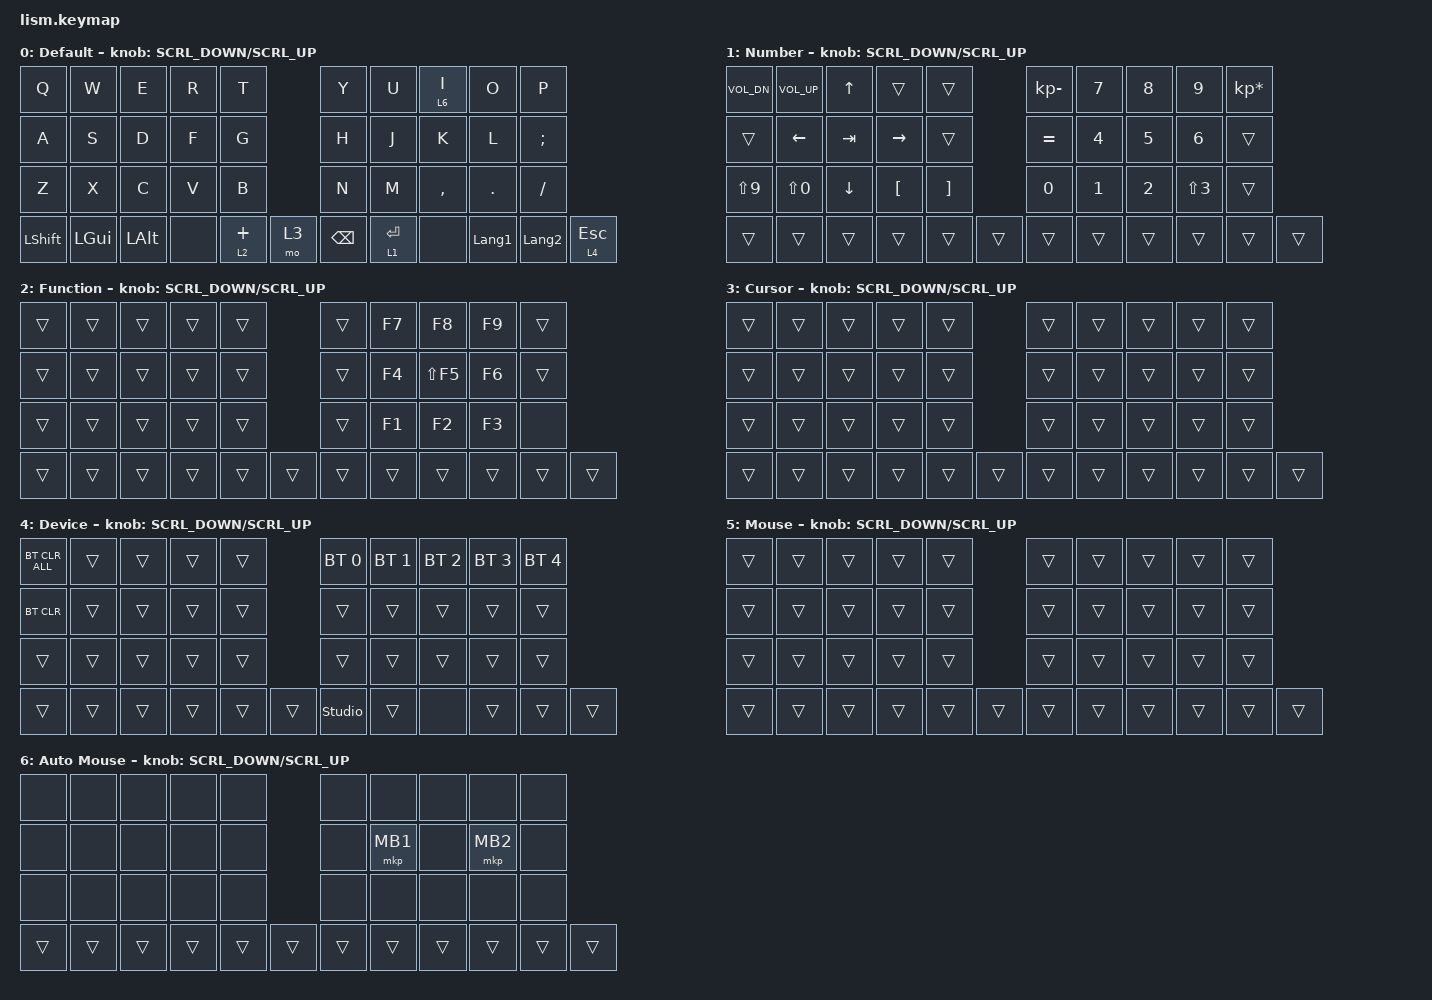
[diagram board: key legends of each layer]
#define ZMK_POINTING_DEFAULT_SCRL_VAL 60

#include <dt-bindings/zmk/mouse.h>
#include <behaviors.dtsi>
#include <dt-bindings/zmk/bt.h>
#include <dt-bindings/zmk/keys.h>
#include <dt-bindings/zmk/pointing.h>
#include <input/processors.dtsi>

#define JP_DQUOTE       AT
#define JP_AMPERSAND    CARET
#define JP_QUOTE        AMPERSAND
#define JP_EQUAL        UNDER
#define JP_CARET        EQUAL
#define JP_YEN          0x89
#define JP_PLUS         COLON
#define JP_TILDE        PLUS
#define JP_PIPE         LS(0x89)
#define JP_AT           LEFT_BRACKET
#define JP_COLON        SINGLE_QUOTE
#define JP_ASTERISK     DOUBLE_QUOTES
#define JP_BACKQUOTE    LEFT_BRACE
#define JP_UNDERSCORE   LS(0x87)
#define JP_LBRACKET     RIGHT_BRACKET
#define JP_RBRACKET     BACKSLASH
#define JP_LPAREN       ASTERISK
#define JP_RPAREN       LEFT_PARENTHESIS
#define JP_LBRACE       RIGHT_BRACE
#define JP_RBRACE       PIPE
#define JP_KANA         LANGUAGE_1
#define JP_EISU         LANGUAGE_2
#define JP_HANZEN       GRAVE

&mt {
    tapping-term-ms = <250>;
    flavor = "balanced";
};

&lt {
    quick-tap-ms = <250>;
};

/ {
    behaviors {
        encoder_msc: sensor_rotate_msc {
            compatible = "zmk,behavior-sensor-rotate-var";
            #sensor-binding-cells = <2>;
            bindings = <&msc>, <&msc>;
            tap-ms = <20>;
        };
    };

    keymap {
        compatible = "zmk,keymap";

        default_layer {
            display-name = "Default";
            bindings = <
                &kp Q   &kp W   &kp E   &kp R   &kp T                 &kp Y   &kp U   &lt 6 I   &kp O   &kp P
                &kp A   &kp S   &kp D   &kp F   &kp G                 &kp H   &kp J   &kp K     &kp L   &kp SEMICOLON
                &kp Z   &kp X   &kp C   &kp V   &kp B                 &kp N   &kp M   &kp COMMA &kp DOT &kp SLASH
                &kp LEFT_SHIFT &kp LEFT_GUI &kp LEFT_ALT &none &lt 2 JP_TILDE &mo 3 &kp BACKSPACE &lt 1 ENTER &none &kp JP_KANA &kp JP_EISU &lt 4 ESC
            >;

            sensor-bindings = <&encoder_msc SCRL_DOWN SCRL_UP>;
        };

        layer_1 {
            display-name = "Number";
            bindings = <
                &kp C_VOL_DN &kp C_VOL_UP &kp UP_ARROW &trans &trans     &kp KP_MINUS &kp N7 &kp N8 &kp N9 &kp KP_MULTIPLY
                &trans &kp LEFT_ARROW &kp TAB &kp RIGHT_ARROW &trans     &kp EQUAL &kp N4 &kp N5 &kp N6 &trans
                &kp LS(N9) &kp LS(N0) &kp DOWN_ARROW &kp LEFT_BRACKET &kp RIGHT_BRACKET     &kp N0 &kp N1 &kp N2 &kp LS(N3) &trans
                &trans &trans &trans &trans &trans &trans &trans &trans &trans &trans &trans &trans
            >;

            sensor-bindings = <&encoder_msc SCRL_DOWN SCRL_UP>;
        };

        layer_2 {
            display-name = "Function";
            bindings = <
                &trans &trans &trans &trans &trans     &trans &kp F7 &kp F8 &kp F9 &trans
                &trans &trans &trans &trans &trans     &trans &kp F4 &kp LS(F5) &kp F6 &trans
                &trans &trans &trans &trans &trans     &trans &kp F1 &kp F2 &kp F3 &none
                &trans &trans &trans &trans &trans &trans &trans &trans &trans &trans &trans &trans
            >;

            sensor-bindings = <&encoder_msc SCRL_DOWN SCRL_UP>;
        };

        layer_3 {
            display-name = "Cursor";
            bindings = <
                &trans &trans &trans &trans &trans     &trans &trans &trans &trans &trans
                &trans &trans &trans &trans &trans     &trans &trans &trans &trans &trans
                &trans &trans &trans &trans &trans     &trans &trans &trans &trans &trans
                &trans &trans &trans &trans &trans &trans &trans &trans &trans &trans &trans &trans
            >;

            sensor-bindings = <&encoder_msc SCRL_DOWN SCRL_UP>;
        };

        layer_4 {
            display-name = "Device";
            bindings = <
                &bt BT_CLR_ALL &trans &trans &trans &trans   &bt BT_SEL 0 &bt BT_SEL 1 &bt BT_SEL 2 &bt BT_SEL 3 &bt BT_SEL 4
                &bt BT_CLR &trans &trans &trans &trans       &trans &trans &trans &trans &trans
                &trans &trans &trans &trans &trans           &trans &trans &trans &trans &trans
                &trans &trans &trans &trans &trans &trans &studio_unlock &trans &none &trans &trans &trans
            >;

            sensor-bindings = <&encoder_msc SCRL_DOWN SCRL_UP>;
        };

        layer_5 {
            display-name = "Mouse";
            bindings = <
                &trans &trans &trans &trans &trans     &trans &trans &trans &trans &trans
                &trans &trans &trans &trans &trans     &trans &trans &trans &trans &trans
                &trans &trans &trans &trans &trans     &trans &trans &trans &trans &trans
                &trans &trans &trans &trans &trans &trans &trans &trans &trans &trans &trans &trans
            >;

            sensor-bindings = <&encoder_msc SCRL_DOWN SCRL_UP>;
        };

        layer_6 {
            display-name = "Auto Mouse";
            bindings = <
                &none &none &none &none &none          &none &none    &none &none    &none
                &none &none &none &none &none          &none &mkp MB1 &none &mkp MB2 &none
                &none &none &none &none &none          &none &none    &none &none    &none
                &trans &trans &trans &trans &trans &trans &trans &trans &trans &trans &trans &trans
            >;

            sensor-bindings = <&encoder_msc SCRL_DOWN SCRL_UP>;
        };

        layer_7 {
            status = "reserved";
            display-name = "Brank Layer";
            bindings = <
                &trans &trans &trans &trans &trans     &trans &trans &trans &trans &trans
                &trans &trans &trans &trans &trans     &trans &trans &trans &trans &trans
                &trans &trans &trans &trans &trans     &trans &trans &trans &trans &trans
                &trans &trans &trans &trans &trans &trans &trans &trans &trans &trans &trans &trans
            >;

            sensor-bindings = <&encoder_msc SCRL_DOWN SCRL_UP>;
        };
    };
};

&mkp_input_listener {
    input-processors = <&zip_temp_layer 6 1500>;
};
